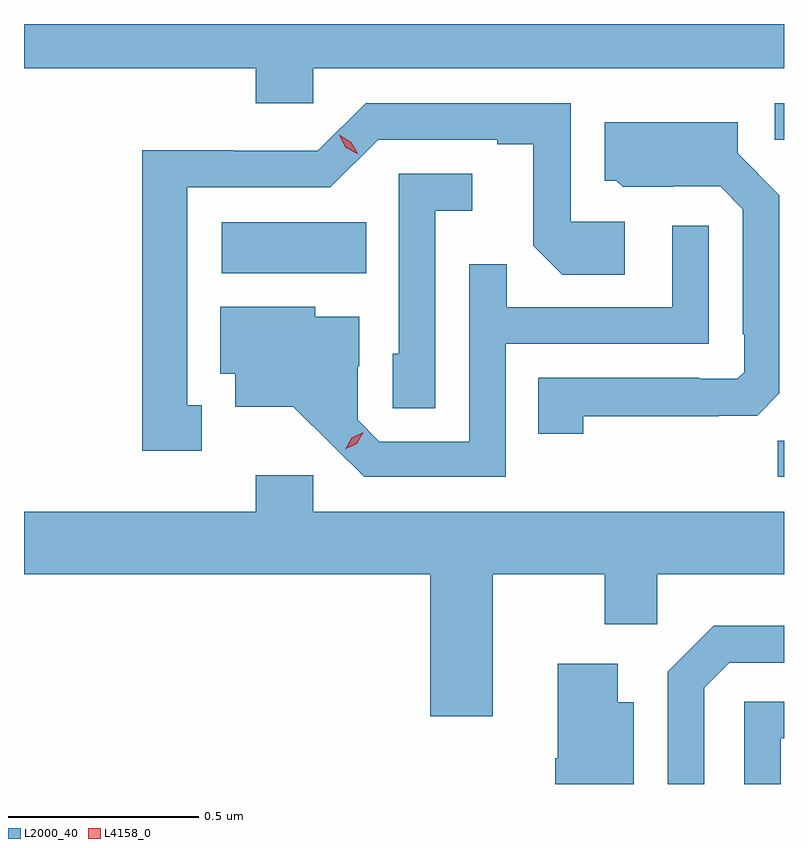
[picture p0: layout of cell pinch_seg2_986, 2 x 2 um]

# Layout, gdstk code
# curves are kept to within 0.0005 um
import gdstk
lib = gdstk.Library(unit=1e-6, precision=1e-09)
def R(c, l, rs):  # rectangles x0, y0, x1, y1
    for r in rs: c.add(gdstk.rectangle(r[:2], r[2:], *l))
def P(c, l, *ps):  # polygons
    for p in ps: c.add(gdstk.Polygon(p, *l))
L2000_40 = (2000, 40)
L4158_0 = (4158, 0)

pinch_seg2_986 = lib.new_cell('pinch_seg2_986')
R(pinch_seg2_986, L2000_40, [(321.766,639.9,321.783,639.995), (320.304,640.436,320.684,640.57), (321.759,640.788,321.783,640.884)])
P(pinch_seg2_986, L2000_40, [(320.544,640.976),(321.783,640.976),(321.783,641.092),(319.783,641.092),(319.783,640.976),(320.393,640.976),(320.393,640.883),(320.544,640.883)],
  [(320.251,640.089),(320.212,640.089),(320.212,640.662),(320.589,640.662),(320.715,640.788),(321.029,640.788),(321.029,640.776),(321.123,640.776),(321.123,640.508),(321.199,640.432),(321.364,640.432),(321.364,640.572),(321.222,640.572),(321.222,640.884),(320.682,640.884),(320.556,640.758),(320.334,640.758),(320.334,640.76),(320.094,640.76),(320.094,639.969),(320.251,639.969)],
  [(321.255,640.06),(321.611,640.06),(321.611,640.061),(321.712,640.061),(321.771,640.12),(321.771,640.642),(321.661,640.752),(321.661,640.834),(321.311,640.834),(321.311,640.68),(321.342,640.68),(321.358,640.664),(321.492,640.664),(321.492,640.665),(321.615,640.665),(321.675,640.605),(321.675,640.276),(321.678,640.276),(321.678,640.176),(321.66,640.158),(321.56,640.158),(321.56,640.161),(321.136,640.161),(321.136,640.014),(321.255,640.014)],
  [(320.865,640.601),(320.962,640.601),(320.962,640.698),(320.769,640.698),(320.769,640.224),(320.754,640.224),(320.754,640.081),(320.865,640.081)],
  [(321.051,640.251),(321.585,640.251),(321.585,640.561),(321.489,640.561),(321.489,640.347),(321.053,640.347),(321.053,640.46),(320.955,640.46),(320.955,639.993),(320.718,639.993),(320.661,640.05),(320.661,640.192),(320.665,640.192),(320.665,640.321),(320.55,640.321),(320.55,640.348),(320.3,640.348),(320.3,640.172),(320.339,640.172),(320.339,640.085),(320.491,640.085),(320.678,639.9),(321.051,639.9)],
  [(321.016,639.644),(321.311,639.644),(321.311,639.513),(321.45,639.513),(321.45,639.644),(321.783,639.644),(321.783,639.808),(320.544,639.808),(320.544,639.904),(320.393,639.904),(320.393,639.808),(319.783,639.808),(319.783,639.644),(320.852,639.644),(320.852,639.27),(321.016,639.27)],
  [(321.573,639.345),(321.639,639.411),(321.783,639.411),(321.783,639.508),(321.598,639.508),(321.477,639.387),(321.477,639.092),(321.573,639.092)],
  [(321.388,639.307),(321.346,639.307),(321.346,639.409),(321.188,639.409),(321.188,639.16),(321.181,639.16),(321.181,639.092),(321.388,639.092)],
  [(321.774,639.213),(321.783,639.213),(321.783,639.309),(321.678,639.309),(321.678,639.092),(321.774,639.092)])
P(pinch_seg2_986, L4158_0, [(320.628,639.973),(320.628,639.973),(320.646,640.003),(320.676,640.018),(320.676,640.018),(320.676,640.018),(320.659,639.988),(320.628,639.973)],
  [(320.662,640.749),(320.63,640.767),(320.612,640.799),(320.612,640.8),(320.612,640.8),(320.644,640.781),(320.662,640.749),(320.662,640.749)])

lib.write_gds('pinch_seg2_986.gds')
